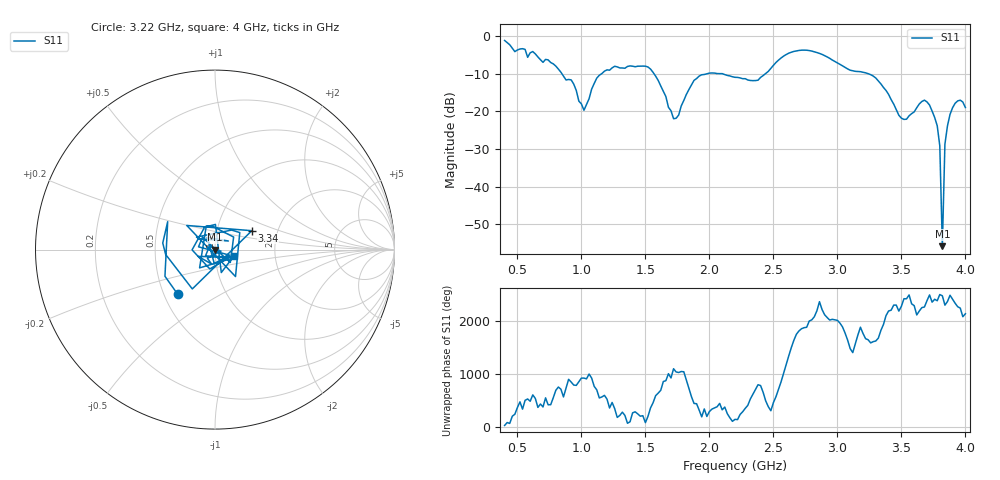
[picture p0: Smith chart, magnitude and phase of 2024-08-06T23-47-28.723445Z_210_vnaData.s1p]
!Created with skrf (http://scikit-rf.org).
# Hz S RI R 50.0
!freq ReS11 ImS11
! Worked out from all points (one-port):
!   181 points, 400 MHz to 4 GHz, reference 50 ohm
!   lowest |S11| = -55.8 dB at 3.82 GHz (marker M1), VSWR 1.00, Z = 50.1 - j0.0981 ohm
!   |S11| at or under -10 dB: 1.567 GHz to 1.986 GHz (419.8 MHz wide, 23.6 % of centre); 2.072 GHz to 2.439 GHz (367.5 MHz wide, 16.3 % of centre); 3.239 GHz to end of sweep (the widest 3 of 4)
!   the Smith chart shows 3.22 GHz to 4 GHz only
!   S11 on the Smith chart (normalised r, x): 3.22 GHz: 0.59, -0.33; 3.34 GHz: 1.47, +0.33; 4 GHz: 1.24, -0.09
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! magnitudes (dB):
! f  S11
! 400 MHz  -1.2
! 740 MHz  -6.4
! 860 MHz  -10.7
! 940 MHz  -12.8
! 1.02 GHz  -19.7
! 1.12 GHz  -11.2
! 1.3 GHz  -8.5
! 1.52 GHz  -8.2
! 1.6 GHz  -11.8
! 1.72 GHz  -22.0
! 1.76 GHz  -21.0
! 1.92 GHz  -10.7
! 2.2 GHz  -11.0
! 2.38 GHz  -11.7
! 2.66 GHz  -4.1
! 3.1 GHz  -9.1
! 3.22 GHz  -9.8
! 3.34 GHz  -12.7
! 3.5 GHz  -21.8
! 3.56 GHz  -21.2
! 3.68 GHz  -17.1
! 3.78 GHz  -23.9
! 3.8 GHz  -29.2
! 3.82 GHz  -55.8
! 3.84 GHz  -28.7
! 3.86 GHz  -23.9
! 3.92 GHz  -17.9
! 4 GHz  -19.0
